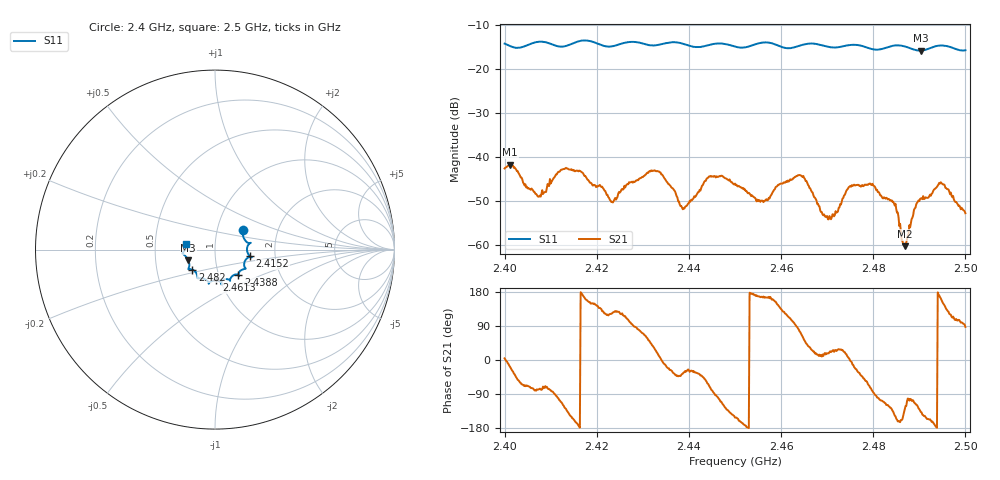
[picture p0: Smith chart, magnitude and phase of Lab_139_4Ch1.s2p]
# Hz S RI R 50
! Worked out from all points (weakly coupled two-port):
!   601 points, 2.4 GHz to 2.5 GHz, reference 50 ohm
!   highest |S21| = -41.74 dB at 2.4012 GHz (marker M1); lowest = -60.2 dB at 2.4868 GHz (marker M2)
!   lowest |S11| = -15.9 dB at 2.4903 GHz (marker M3), VSWR 1.38, Z = 36.8 - j4.45 ohm
!   |S11| at or under -10 dB: start of sweep to end of sweep
!   S12 and S22 are empty: the file has one direction only
!   S11 on the Smith chart (normalised r, x): 2.4 GHz: 1.33, +0.31; 2.4152 GHz: 1.48, -0.11; 2.4388 GHz: 1.24, -0.36; 2.4613 GHz: 0.96, -0.34; 2.482 GHz: 0.76, -0.17; 2.5 GHz: 0.72, +0.05
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2.4e9  0.1575 0.1115  0.0074 0.000556  0 0  0 0
2.401167e9  0.1549 0.0938  0.0078 -0.00248  0 0  0 0
2.407333e9  0.1986 0.0368  0.000744 -0.00346  0 0  0 0
2.415167e9  0.1938 -0.0372  -0.00648 -0.0024  0 0  0 0
2.416667e9  0.2037 -0.0435  -0.00677 0.000479  0 0  0 0
2.423333e9  0.1627 -0.0766  -0.0017 0.0026  0 0  0 0
2.433333e9  0.1321 -0.1317  0.00666 0.00168  0 0  0 0
2.438833e9  0.1295 -0.1408  0.0022 -0.00143  0 0  0 0
2.4445e9  0.0838 -0.1672  0.00199 -0.00568  0 0  0 0
2.45e9  0.0688 -0.1648  -0.00441 -0.00235  0 0  0 0
2.456e9  0.0365 -0.1948  -0.00309 0.000813  0 0  0 0
2.461333e9  0.00774 -0.1708  -0.00238 0.00465  0 0  0 0
2.464333e9  -0.0297 -0.1824  0.00219 0.00576  0 0  0 0
2.466667e9  -0.0348 -0.1901  0.00361 0.00179  0 0  0 0
2.4705e9  -0.0485 -0.1695  0.002 0.000758  0 0  0 0
2.475333e9  -0.0942 -0.1612  0.00477 -0.000477  0 0  0 0
2.482e9  -0.1259 -0.1118  -0.00107 -0.00325  0 0  0 0
2.483333e9  -0.1395 -0.1087  -0.00176 -0.00285  0 0  0 0
2.486833e9  -0.1464 -0.1034  -0.00065 -0.000728  0 0  0 0
2.490333e9  -0.1493 -0.0589  -0.00251 -0.0023  0 0  0 0
2.494833e9  -0.1825 -0.0202  -0.00466 0.00192  0 0  0 0
2.5e9  -0.1589 0.0325  0.000112 0.0023  0 0  0 0
